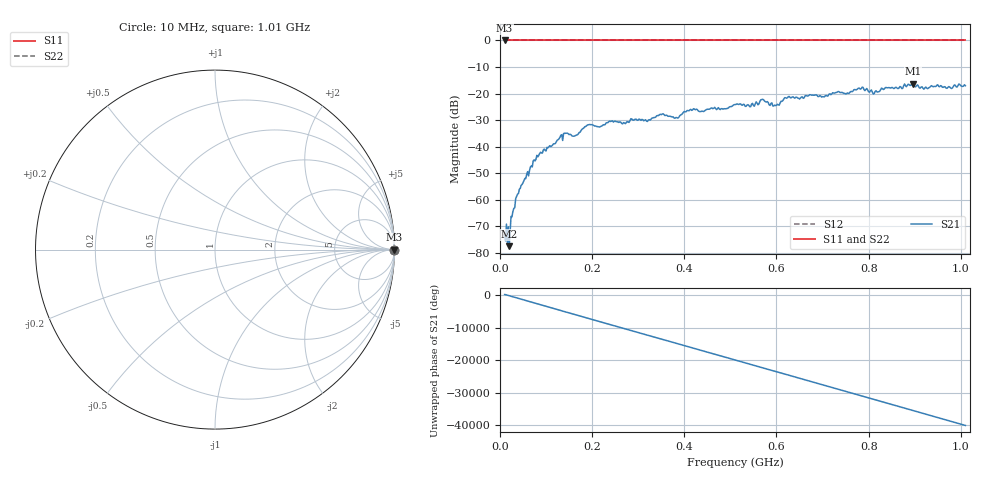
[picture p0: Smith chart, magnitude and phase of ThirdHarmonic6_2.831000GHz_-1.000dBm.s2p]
! 8/17/2025 7:33:05 AM
! C:\ANRITSUVNA\TEMP\TEMP.S2P
! CHANNEL.1
! TR.MEASUREMENT
! RAW.DATA
! RF.CORRECTION.OFF
! AVERAGING.OFF
! IF.BANDWIDTH: 5KHZ
! SWEEPTYPE:  FREQ.SWEEP(Linear)
! Reference Plane Port Info
! PORT:  PORT1  PORT2
! DISTANCE:  0  m  0  m
! TIME:  0  s  0  s
! PHASE.OFFSET:  0  deg.  0  deg.
! LOSS:  0  dB  0  dB
! REF.LOSS:  0  dB  0  dB
! REF.FREQ:  0  Hz  0  Hz
! Power Info
! POWER:  -20  dBm  -20  dBm
! EFF.POWER:  -20  dBm  -20  dBm
! SOURCE.ATTEN:  0  dB  0  dB
! TEST.ATTEN:  0  dB  0  dB
# GHZ S RI R 50.0
! FREQ.GHZ  S11RE  S11IM  S21RE  S21IM  S12RE  S12IM  S22RE  S22IM
!; PortSelection: Port_12
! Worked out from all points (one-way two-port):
!   501 points, 10 MHz to 1.01 GHz, reference 50 ohm
!   highest |S21| = -16.29 dB at 896 MHz (marker M1); lowest = -77.5 dB at 20 MHz (marker M2)
!   lowest |S11| = 0.0 dB at 10 MHz (marker M3)
!   |S11| at or under -10 dB: nowhere
!   |S22| runs from 0.0 to 0.0 dB; largest |S21 - S12| = 1.1
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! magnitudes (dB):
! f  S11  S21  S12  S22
! 10 MHz  0.0  -73.3  0.0  0.0
! 20 MHz  0.0  -77.5  0.0  0.0
! 28 MHz  0.0  -64.4  0.0  0.0
! 38 MHz  0.0  -57.9  0.0  0.0
! 76 MHz  0.0  -45.4  0.0  0.0
! 142 MHz  0.0  -35.0  0.0  0.0
! 162 MHz  0.0  -36.0  0.0  0.0
! 178 MHz  0.0  -33.4  0.0  0.0
! 194 MHz  0.0  -31.7  0.0  0.0
! 322 MHz  0.0  -30.0  0.0  0.0
! 344 MHz  0.0  -28.3  0.0  0.0
! 382 MHz  0.0  -29.0  0.0  0.0
! 410 MHz  0.0  -26.5  0.0  0.0
! 510 MHz  0.0  -24.2  0.0  0.0
! 548 MHz  0.0  -23.7  0.0  0.0
! 570 MHz  0.0  -22.2  0.0  0.0
! 596 MHz  0.0  -24.3  0.0  0.0
! 622 MHz  0.0  -21.8  0.0  0.0
! 678 MHz  0.0  -20.6  0.0  0.0
! 844 MHz  0.0  -17.8  0.0  0.0
! 896 MHz  0.0  -16.3  0.0  0.0
! 1.01 GHz  0.0  -17.1  0.0  0.0
